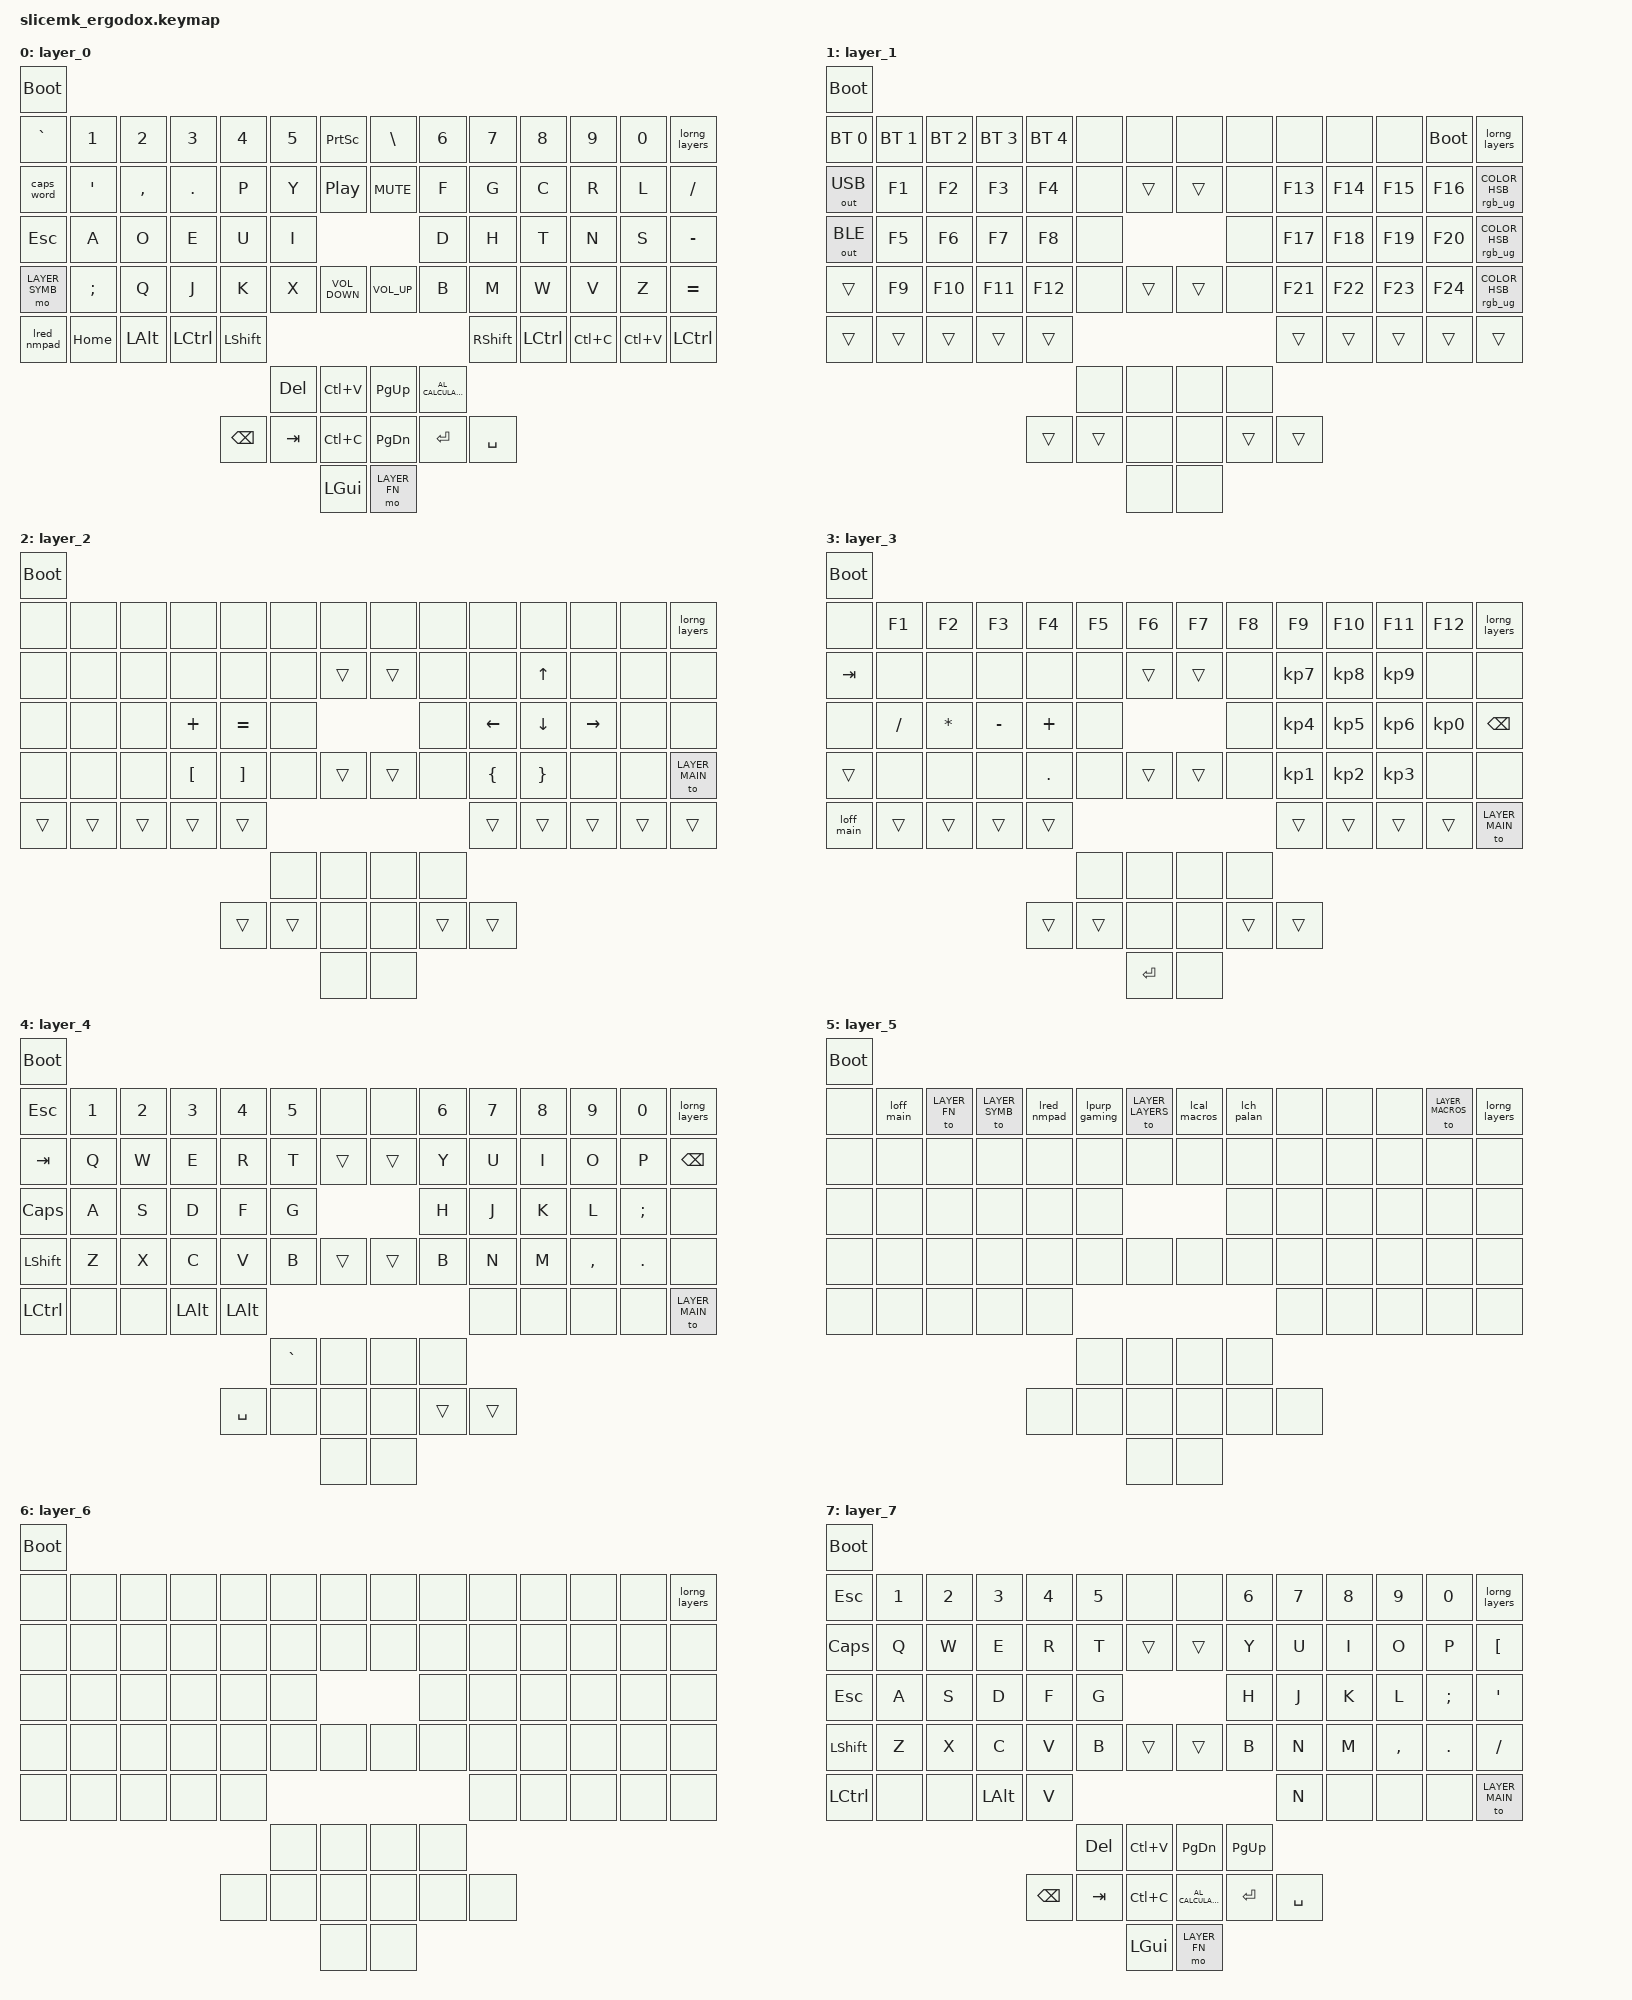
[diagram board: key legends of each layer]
#include <behaviors.dtsi>
#include <dt-bindings/zmk/bt.h>
#include <dt-bindings/zmk/keys.h>
#include <dt-bindings/zmk/outputs.h>
#include <dt-bindings/zmk/rgb.h>

#define LAYER_MAIN    0
#define LAYER_FN      1
#define LAYER_SYMB    2
#define LAYER_NMPAD   3
#define LAYER_GAMING  4
#define LAYER_LAYERS  5
#define LAYER_MACROS  6
#define LAYER_PALAN   7

// ── Behavior overrides (must be top-level node references, outside / {}) ──────
&mt {
    tapping-term-ms = <300>;
};

/ {

    // ── Keymap ──────────────────────────────────────────────────────────────
    keymap {
        compatible = "zmk,keymap";

        // Layer 0: MAIN (Dvorak)
        layer_0 {
            bindings = <
&bootloader
&kp GRAVE       &kp NUMBER_1   &kp NUMBER_2  &kp NUMBER_3  &kp NUMBER_4   &kp NUMBER_5  &kp PRINTSCREEN      &kp BSLH             &kp NUMBER_6  &kp NUMBER_7  &kp NUMBER_8  &kp NUMBER_9  &kp NUMBER_0  &lorng_layers
&caps_word      &kp SQT        &kp COMMA     &kp DOT       &kp P          &kp Y         &kp C_PP             &kp C_MUTE           &kp F         &kp G         &kp C         &kp R         &kp L         &kp SLASH
&kp ESC         &kp A          &kp O         &kp E         &kp U          &kp I                                                   &kp D         &kp H         &kp T         &kp N         &kp S         &kp MINUS
&mo LAYER_SYMB  &kp SEMICOLON  &kp Q         &kp J         &kp K          &kp X         &kp C_VOLUME_DOWN    &kp C_VOLUME_UP      &kp B         &kp M         &kp W         &kp V         &kp Z         &kp EQUAL
&lred_nmpad     &kp HOME       &kp LALT      &kp LCTRL     &kp LSHIFT                                                                           &kp RSHIFT    &kp LCTRL     &kp LC(C)     &kp LC(V)     &kp LCTRL
                                                                          &kp DEL       &kp LC(V)            &kp PG_UP        &kp C_AL_CALCULATOR
                                                           &kp BACKSPACE  &kp TAB       &kp LC(C)            &kp PG_DN        &kp RET       &kp SPACE
                                                                                        &kp LGUI             &mo LAYER_FN
            >;
        };

        // Layer 1: FN — Function keys, BT profiles, output select, RGB color pickers
        layer_1 {
            bindings = <
&bootloader
&bt BT_SEL 0  &bt BT_SEL 1  &bt BT_SEL 2  &bt BT_SEL 3  &bt BT_SEL 4  &none   &none     &none   &none   &none    &none    &none    &bootloader  &lorng_layers
&out OUT_USB  &kp F1        &kp F2        &kp F3        &kp F4        &none   &trans    &trans  &none   &kp F13  &kp F14  &kp F15  &kp F16      &rgb_ug RGB_COLOR_HSB(0,100,50)
&out OUT_BLE  &kp F5        &kp F6        &kp F7        &kp F8        &none                     &none   &kp F17  &kp F18  &kp F19  &kp F20      &rgb_ug RGB_COLOR_HSB(120,100,50)
&trans        &kp F9        &kp F10       &kp F11       &kp F12       &none   &trans    &trans  &none   &kp F21  &kp F22  &kp F23  &kp F24      &rgb_ug RGB_COLOR_HSB(240,100,50)
&trans        &trans        &trans        &trans        &trans                                          &trans   &trans   &trans   &trans       &trans
                                                                      &none   &none     &none   &none
                                                        &trans        &trans  &none     &none   &trans  &trans
                                                                              &none     &none
            >;
        };

        // Layer 2: SYMB — Symbols, brackets, arrows
        layer_2 {
            bindings = <
&bootloader
&none        &none   &none   &none     &none      &none   &none     &none   &none   &none           &none            &none      &none   &lorng_layers
&none        &none   &none   &none     &none      &none   &trans    &trans  &none   &none           &kp UP           &none      &none   &none
&none        &none   &none   &kp PLUS  &kp EQUAL  &none                     &none   &kp LEFT        &kp DOWN         &kp RIGHT  &none   &none
&none        &none   &none   &kp LBKT  &kp RBKT   &none   &trans    &trans  &none   &kp LEFT_BRACE  &kp RIGHT_BRACE  &none      &none   &to LAYER_MAIN
&trans       &trans  &trans  &trans    &trans                                       &trans          &trans           &trans     &trans  &trans
                                                  &none   &none     &none   &none
                                       &trans     &trans  &none     &none   &trans  &trans
                                                          &none     &none
            >;
        };

        // Layer 3: NMPAD — Numpad right hand, arithmetic operators left hand
        layer_3 {
            bindings = <
&bootloader
&none        &kp F1     &kp F2        &kp F3     &kp F4    &kp F5  &kp F6     &kp F7  &kp F8  &kp F9     &kp F10    &kp F11    &kp F12    &lorng_layers
&kp TAB      &none      &none         &none      &none     &none   &trans     &trans  &none   &kp KP_N7  &kp KP_N8  &kp KP_N9  &none      &none
&none        &kp SLASH  &kp ASTERISK  &kp MINUS  &kp PLUS  &none                      &none   &kp KP_N4  &kp KP_N5  &kp KP_N6  &kp KP_N0  &kp BKSP
&trans       &none      &none         &none      &kp DOT   &none   &trans     &trans  &none   &kp KP_N1  &kp KP_N2  &kp KP_N3  &none      &none
&loff_main   &trans     &trans        &trans     &trans                                       &trans     &trans     &trans     &trans     &to LAYER_MAIN
                                                           &none   &none      &none   &none
                                                 &trans    &trans  &none      &none   &trans  &trans
                                                                   &kp RET    &none
            >;
        };

        // Layer 4: GAMING — QWERTY
        // NOTE: right side row 4 first key is &kp B to mirror left side; change to
        //       &kp N if you want a standard QWERTY N there instead.
        layer_4 {
            bindings = <
&bootloader
&kp ESC      &kp NUMBER_1  &kp NUMBER_2  &kp NUMBER_3  &kp NUMBER_4  &kp NUMBER_5  &none     &none   &kp NUMBER_6  &kp NUMBER_7  &kp NUMBER_8  &kp NUMBER_9  &kp NUMBER_0   &lorng_layers
&kp TAB      &kp Q         &kp W         &kp E         &kp R         &kp T         &trans    &trans  &kp Y         &kp U         &kp I         &kp O         &kp P          &kp BKSP
&kp CAPSLOCK &kp A         &kp S         &kp D         &kp F         &kp G                           &kp H         &kp J         &kp K         &kp L         &kp SEMICOLON  &none
&kp LSHIFT   &kp Z         &kp X         &kp C         &kp V         &kp B         &trans    &trans  &kp B         &kp N         &kp M         &kp COMMA     &kp DOT        &none
&kp LCTRL    &none         &none         &kp LALT      &kp LALT                                                    &none         &none         &none         &none          &to LAYER_MAIN
                                                                     &kp GRAVE     &none     &none   &none
                                                       &kp SPACE     &none         &none     &none   &trans        &trans
                                                                                   &none     &none
            >;
        };

        // Layer 5: LAYERS — Layer switcher hub (RGB color shows active layer)
        layer_5 {
            bindings = <
&bootloader
&none  &loff_main  &to LAYER_FN  &to LAYER_SYMB  &lred_nmpad  &lpurp_gaming  &to LAYER_LAYERS  &lcal_macros  &lch_palan  &none  &none  &none  &to LAYER_MACROS  &lorng_layers
&none  &none       &none         &none           &none        &none          &none             &none         &none       &none  &none  &none  &none             &none
&none  &none       &none         &none           &none        &none                                          &none       &none  &none  &none  &none             &none
&none  &none       &none         &none           &none        &none          &none             &none         &none       &none  &none  &none  &none             &none
&none  &none       &none         &none           &none                                                                   &none  &none  &none  &none             &none
                                                              &none          &none             &none         &none
                                                 &none        &none          &none             &none         &none       &none
                                                                             &none             &none
            >;
        };

        // Layer 6: MACROS — WIP / placeholder
        layer_6 {
            bindings = <
&bootloader
&none  &none  &none  &none  &none  &none  &none  &none  &none  &none  &none  &none  &none  &lorng_layers
&none  &none  &none  &none  &none  &none  &none  &none  &none  &none  &none  &none  &none  &none
&none  &none  &none  &none  &none  &none                &none  &none  &none  &none  &none  &none
&none  &none  &none  &none  &none  &none  &none  &none  &none  &none  &none  &none  &none  &none
&none  &none  &none  &none  &none                              &none  &none  &none  &none  &none
                                   &none  &none  &none  &none
                            &none  &none  &none  &none  &none  &none
                                          &none  &none
            >;
        };

        // Layer 7: PALAN — Palantir / alternate QWERTY
        layer_7 {
            bindings = <
&bootloader
&kp ESC      &kp NUMBER_1  &kp NUMBER_2  &kp NUMBER_3  &kp NUMBER_4  &kp NUMBER_5  &none     &none   &kp NUMBER_6  &kp NUMBER_7  &kp NUMBER_8  &kp NUMBER_9  &kp NUMBER_0   &lorng_layers
&kp CAPSLOCK &kp Q         &kp W         &kp E         &kp R         &kp T         &trans    &trans  &kp Y         &kp U         &kp I         &kp O         &kp P          &kp LEFT_BRACKET
&kp ESC      &kp A         &kp S         &kp D         &kp F         &kp G                           &kp H         &kp J         &kp K         &kp L         &kp SEMICOLON  &kp APOSTROPHE
&kp LSHIFT   &kp Z         &kp X         &kp C         &kp V         &kp B         &trans    &trans  &kp B         &kp N         &kp M         &kp COMMA     &kp DOT        &kp SLASH
&kp LCTRL    &none         &none         &kp LALT      &kp V                                                       &kp N         &none         &none         &none          &to LAYER_MAIN
                                                                     &kp DEL       &kp LC(V)            &kp PG_DN  &kp PG_UP
                                                       &kp BACKSPACE &kp TAB       &kp LC(C)  &kp C_AL_CALCULATOR  &kp RET       &kp SPACE
                                                                                   &kp LGUI   &mo LAYER_FN
            >;
        };
    };

    // ── Macros ──────────────────────────────────────────────────────────────
    // ZMK_MACRO expands to a labeled DTS node and must live directly inside
    // / {} — nesting it inside behaviors {} breaks the node reference path.

    ZMK_MACRO(
        lred_nmpad,
        wait-ms = <40>;
        tap-ms = <50>;
        bindings = <&to LAYER_NMPAD &rgb_ug RGB_COLOR_HSB(0,100,100)>;
    )

    ZMK_MACRO(
        loff_main,
        wait-ms = <40>;
        tap-ms = <50>;
        bindings = <&to LAYER_MAIN &rgb_ug RGB_COLOR_HSB(0,0,0)>;
    )

    ZMK_MACRO(
        lpurp_gaming,
        wait-ms = <40>;
        tap-ms = <50>;
        bindings = <&to LAYER_GAMING &rgb_ug RGB_COLOR_HSB(268,100,41)>;
    )

    ZMK_MACRO(
        lorng_layers,
        wait-ms = <40>;
        tap-ms = <50>;
        bindings = <&to LAYER_LAYERS &rgb_ug RGB_COLOR_HSB(36,100,63)>;
    )

    ZMK_MACRO(
        lcal_macros,
        wait-ms = <40>;
        tap-ms = <50>;
        // Original had RGB_COLOR_HSB(255,255,63) — ZMK saturation max is 100.
        // Using yellow (hue 55) as placeholder; change the hue value to taste.
        bindings = <&to LAYER_MACROS &rgb_ug RGB_COLOR_HSB(55,100,63)>;
    )

    ZMK_MACRO(
        lch_palan,
        wait-ms = <40>;
        tap-ms = <50>;
        // Original had RGB_COLOR_HSB(0,255,0) — saturation 255 is invalid.
        // Using green (hue 120) as placeholder; change the hue value to taste.
        bindings = <&to LAYER_PALAN &rgb_ug RGB_COLOR_HSB(120,100,50)>;
    )

};
